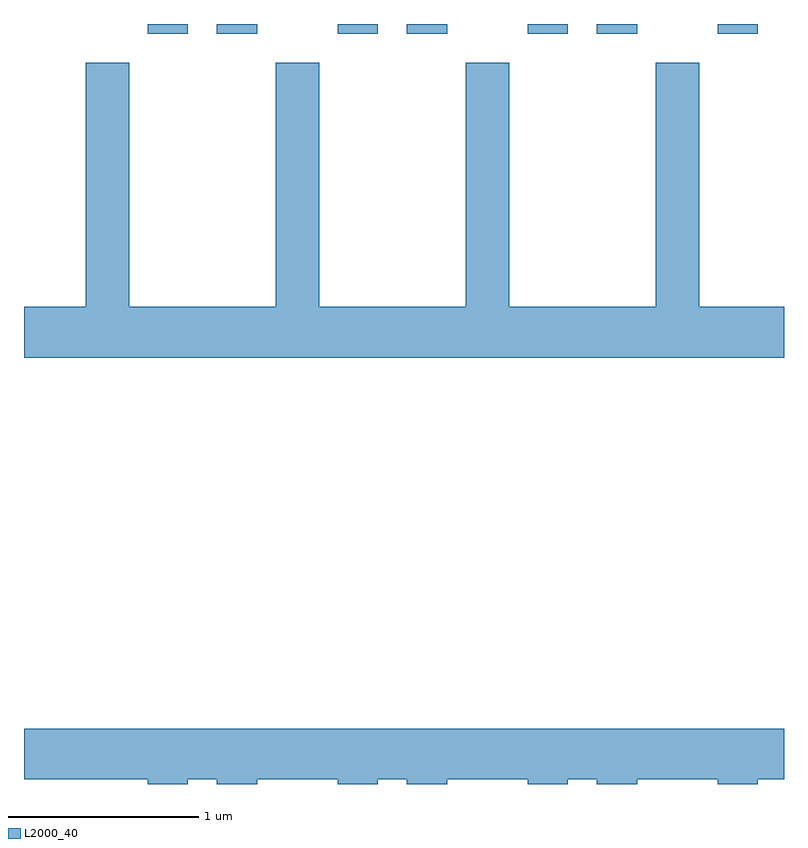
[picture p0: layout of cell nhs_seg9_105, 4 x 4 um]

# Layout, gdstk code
import gdstk
lib = gdstk.Library(unit=1e-6, precision=1e-09)
def R(c, l, rs):  # rectangles x0, y0, x1, y1
    for r in rs: c.add(gdstk.rectangle(r[:2], r[2:], *l))
def P(c, l, *ps):  # polygons
    for p in ps: c.add(gdstk.Polygon(p, *l))
L2000_40 = (2000, 40)

nhs_seg9_105 = lib.new_cell('nhs_seg9_105')
R(nhs_seg9_105, L2000_40, [(188.261,2022.381,188.474,2022.432), (188.626,2022.381,188.839,2022.432), (189.261,2022.381,189.474,2022.432), (189.626,2022.381,189.839,2022.432), (190.261,2022.381,190.474,2022.432), (190.626,2022.381,190.839,2022.432), (191.261,2022.381,191.474,2022.432)])
P(nhs_seg9_105, L2000_40, [(191.611,2020.944),(191.164,2020.944),(191.164,2022.229),(190.936,2022.229),(190.936,2020.944),(190.164,2020.944),(190.164,2022.229),(189.936,2022.229),(189.936,2020.944),(189.164,2020.944),(189.164,2022.229),(188.936,2022.229),(188.936,2020.944),(188.164,2020.944),(188.164,2022.229),(187.936,2022.229),(187.936,2020.944),(187.611,2020.944),(187.611,2020.676),(191.611,2020.676)],
  [(188.474,2018.456),(188.626,2018.456),(188.626,2018.432),(188.839,2018.432),(188.839,2018.456),(189.261,2018.456),(189.261,2018.432),(189.474,2018.432),(189.474,2018.456),(189.626,2018.456),(189.626,2018.432),(189.839,2018.432),(189.839,2018.456),(190.261,2018.456),(190.261,2018.432),(190.474,2018.432),(190.474,2018.456),(190.626,2018.456),(190.626,2018.432),(190.839,2018.432),(190.839,2018.456),(191.261,2018.456),(191.261,2018.432),(191.474,2018.432),(191.474,2018.456),(191.611,2018.456),(191.611,2018.724),(187.611,2018.724),(187.611,2018.456),(188.261,2018.456),(188.261,2018.432),(188.474,2018.432)])

lib.write_gds('nhs_seg9_105.gds')
